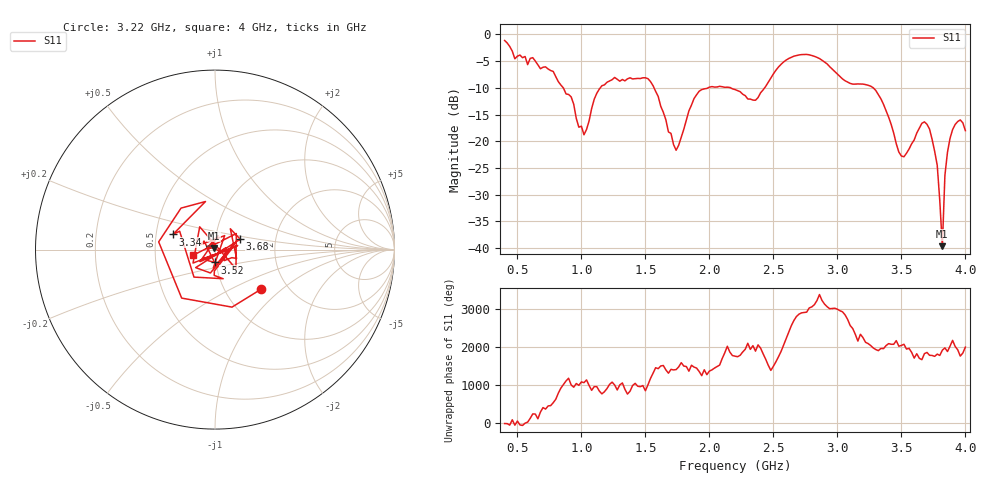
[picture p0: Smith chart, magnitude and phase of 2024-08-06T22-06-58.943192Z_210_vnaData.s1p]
!Created with skrf (http://scikit-rf.org).
# Hz S RI R 50.0
!freq ReS11 ImS11
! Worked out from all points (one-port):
!   181 points, 400 MHz to 4 GHz, reference 50 ohm
!   lowest |S11| = -39.6 dB at 3.82 GHz (marker M1), VSWR 1.02, Z = 49.6 + j0.951 ohm
!   |S11| at or under -10 dB: 858.4 MHz to 1.147 GHz (289 MHz wide, 28.8 % of centre); 1.567 GHz to 1.989 GHz (421.7 MHz wide, 23.7 % of centre); 3.281 GHz to end of sweep (the widest 3 of 4)
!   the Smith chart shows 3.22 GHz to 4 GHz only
!   S11 on the Smith chart (normalised r, x): 3.22 GHz: 1.48, -0.73; 3.34 GHz: 0.61, +0.11; 3.52 GHz: 0.99, -0.14; 3.68 GHz: 1.32, +0.16; 4 GHz: 0.78, -0.05
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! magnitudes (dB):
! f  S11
! 400 MHz  -1.1
! 480 MHz  -4.6
! 620 MHz  -4.4
! 860 MHz  -10.0
! 1.02 GHz  -18.8
! 1.14 GHz  -10.2
! 1.3 GHz  -8.8
! 1.52 GHz  -8.3
! 1.74 GHz  -21.7
! 1.76 GHz  -20.7
! 1.92 GHz  -10.6
! 2.2 GHz  -10.3
! 2.36 GHz  -12.3
! 2.66 GHz  -4.1
! 2.86 GHz  -4.5
! 3.1 GHz  -9.2
! 3.22 GHz  -9.4
! 3.34 GHz  -12.1
! 3.52 GHz  -22.9
! 3.56 GHz  -21.4
! 3.68 GHz  -16.4
! 3.72 GHz  -17.7
! 3.78 GHz  -24.5
! 3.82 GHz  -39.6
! 3.84 GHz  -26.4
! 3.88 GHz  -19.4
! 3.96 GHz  -16.0
! 4 GHz  -18.0
